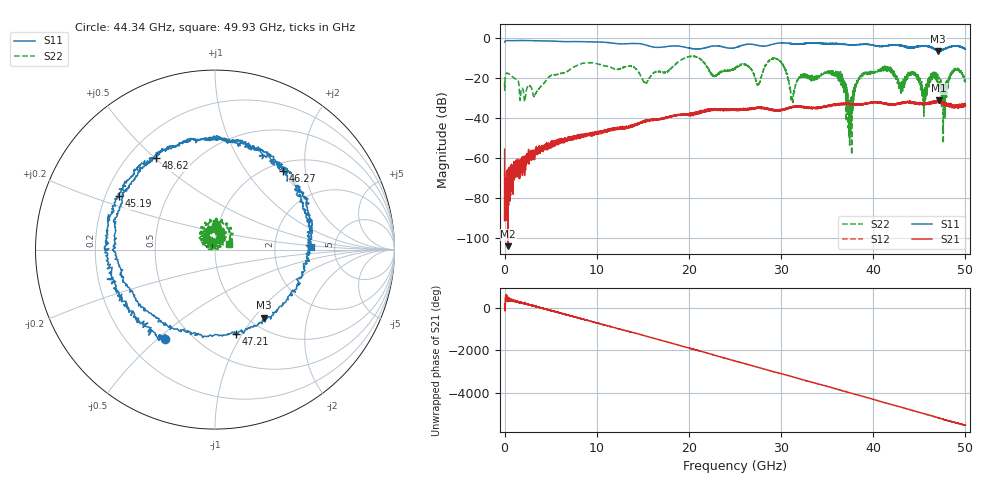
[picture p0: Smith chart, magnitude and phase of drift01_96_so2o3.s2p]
!Created with skrf (http://scikit-rf.org).
# Hz S RI R 50.0
!freq ReS11 ImS11 ReS21 ImS21 ReS12 ImS12 ReS22 ImS22
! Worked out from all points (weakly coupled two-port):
!   10001 points, 300 kHz to 50 GHz, reference 50 ohm
!   highest |S21| = -31.28 dB at 47.16 GHz (marker M1); lowest = -104.2 dB at 390.3 MHz (marker M2)
!   lowest |S11| = -6.6 dB at 47.05 GHz (marker M3), VSWR 2.75, Z = 58 - j56.3 ohm
!   |S11| at or under -10 dB: nowhere
!   |S22| runs from -58.4 to -9.2 dB; largest |S21 - S12| = 0.0035
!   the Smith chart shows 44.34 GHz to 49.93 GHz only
!   S11 on the Smith chart (normalised r, x): 44.34 GHz: 0.36, -0.53; 45.19 GHz: 0.25, +0.24; 46.27 GHz: 1.16, +1.51; 47.21 GHz: 0.77, -0.93; 48.62 GHz: 0.31, +0.50; 49.93 GHz: 3.31, +0.13
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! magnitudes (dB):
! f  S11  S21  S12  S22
! 300 kHz  -2.1  -55.7  -66.5  -22.2
! 390.3 MHz  -1.4  -104.2  -79.6  -18.0
! 3.285 GHz  -1.5  -57.4  -57.4  -28.8
! 8.335 GHz  -1.9  -49.0  -49.3  -12.9
! 16.67 GHz  -4.8  -40.9  -40.9  -16.6
! 25 GHz  -5.0  -35.6  -36.1  -15.5
! 29.58 GHz  -2.8  -36.2  -36.4  -10.6
! 31.24 GHz  -3.0  -34.6  -34.7  -31.8
! 33.34 GHz  -2.6  -34.8  -35.1  -20.1
! 36.21 GHz  -3.1  -33.4  -33.1  -20.5
! 37.47 GHz  -3.6  -33.0  -33.0  -35.4
! 38.66 GHz  -3.4  -33.3  -33.4  -20.2
! 41.67 GHz  -3.9  -33.3  -33.3  -15.8
! 44.34 GHz  -4.9  -32.5  -32.4  -17.4
! 45.19 GHz  -4.2  -33.0  -32.9  -23.8
! 46.27 GHz  -4.8  -32.3  -32.3  -18.0
! 47.05 GHz  -6.6  -32.4  -32.2  -22.7
! 47.16 GHz  -6.3  -31.3  -32.2  -20.3
! 47.21 GHz  -6.3  -32.3  -32.0  -23.9
! 48.62 GHz  -4.3  -34.3  -34.0  -17.5
! 49.93 GHz  -5.4  -33.9  -33.8  -21.7
! 50 GHz  -5.6  -33.4  -33.2  -21.7
